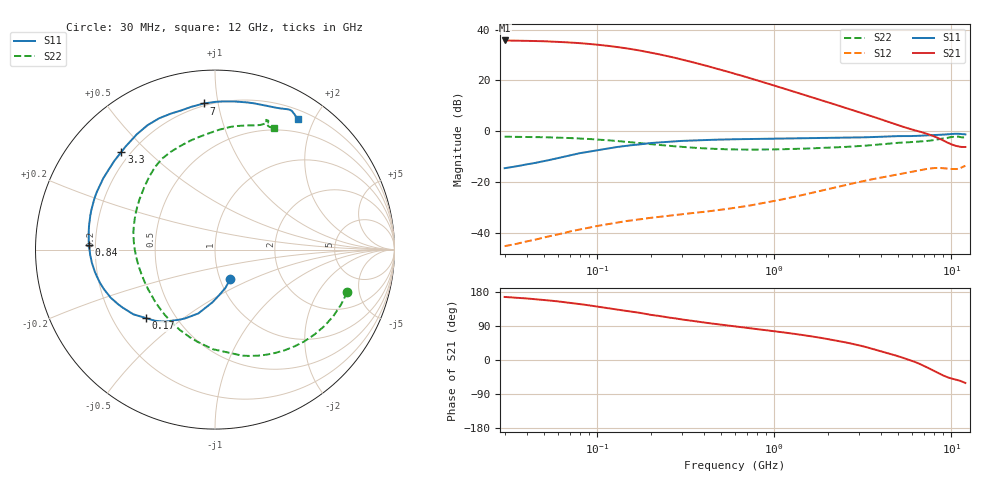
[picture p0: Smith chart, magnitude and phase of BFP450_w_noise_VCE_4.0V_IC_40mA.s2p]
! (c) 2015  Infineon Technologies AG, Munich
! Infineon Technologies  Discrete & RF Semiconductors
! BFP450
! VCE =  4.0 V,  IC =  40 mA
! Common Emitter S-Parameters:  Nov 2015
# GHz  S  MA  R  50
!  f  S11  S21  S12  S22
! GHz  MAG  ANG  MAG  ANG  MAG  ANG  MAG  ANG
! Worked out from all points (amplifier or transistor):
!   239 points, 30 MHz to 12 GHz, reference 50 ohm
!   highest |S21| = 35.7 dB at 30 MHz (marker M1)
!   |S21| within 3 dB of that: start of sweep to 142.9 MHz
!   unconditionally stable (mu >= 1): 1.283 GHz to end of sweep
!   at 300 MHz: K = 0.52, MSG = 30.5 dB, |S12| = -32.8 dB
!   at 1.88 GHz: K = 1.08, MAG = 16.0 dB, |S12| = -23.3 dB
!   at 12 GHz: K = 1.10, MAG = 1.8 dB, |S12| = -13.7 dB
!   lowest NFmin = 1.41 dB at 450 MHz
!   S11 on the Smith chart (normalised r, x): 30 MHz: 1.11, -0.38; 170 MHz: 0.34, -0.37; 840 MHz: 0.17, +0.02; 3.3 GHz: 0.17, +0.42; 7 GHz: 0.19, +0.91; 12 GHz: 0.32, +1.77
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0.03  0.1854 -63.2  60.94 166.4  0.0054 53.0  0.774 -17.8
0.04  0.2208 -74.6  59.95 162.4  0.0067 56.8  0.766 -23.7
0.05  0.2552 -84.9  58.78 158.2  0.008 57.4  0.7561 -29.5
0.06  0.2936 -92.7  57.22 154.7  0.0092 57.0  0.7433 -35.1
0.07  0.331 -99.7  55.55 150.7  0.0105 56.7  0.7286 -40.5
0.085  0.3797 -107.1  52.98 145.9  0.012 55.3  0.7052 -48.1
0.1  0.4203 -113.9  50.32 141.2  0.0135 54.0  0.6821 -55.3
0.12  0.4636 -121.3  46.85 135.7  0.0151 51.7  0.6513 -64.1
0.15  0.5198 -130.4  42.04 128.5  0.0171 48.9  0.6101 -75.6
0.17  0.5415 -135.2  39.13 125.2  0.0181 47.6  0.5828 -81.5
0.2  0.5805 -141.6  35.07 119.2  0.0195 45.9  0.5549 -91.3
0.24  0.6068 -147.7  30.84 113.9  0.021 44.7  0.5217 -101.1
0.3  0.6397 -155.2  25.68 107.0  0.023 43.7  0.4885 -113.7
0.4  0.6663 -163.6  19.87 98.9  0.0256 43.9  0.4569 -128.7
0.6  0.6901 -174.0  13.38 88.5  0.0308 46.2  0.4343 -147.7
0.84  0.7023 178.0  9.482 80.3  0.0373 48.6  0.4319 -161.3
1.2  0.7144 169.3  6.45 71.1  0.0477 50.0  0.4414 -174.9
1.64  0.725 160.6  4.603 62.2  0.0609 48.9  0.4562 173.3
3.3  0.7538 133.8  2.133 34.1  0.1061 34.4  0.517 141.4
4.5  0.7886 118.4  1.475 16.4  0.1307 22.7  0.5695 125.7
7  0.8165 94.4  0.923 -15.6  0.176 -1.7  0.6311 99.2
12  0.8591 57.6  0.486 -60.6  0.207 -40.1  0.7503 64.1
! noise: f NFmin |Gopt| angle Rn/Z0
0.45  1.41  0.49  -173  0.06
0.9  1.48  0.51  -169  0.07
1.9  1.59  0.57  -153  0.1
2.4  1.69  0.58  -145  0.12
